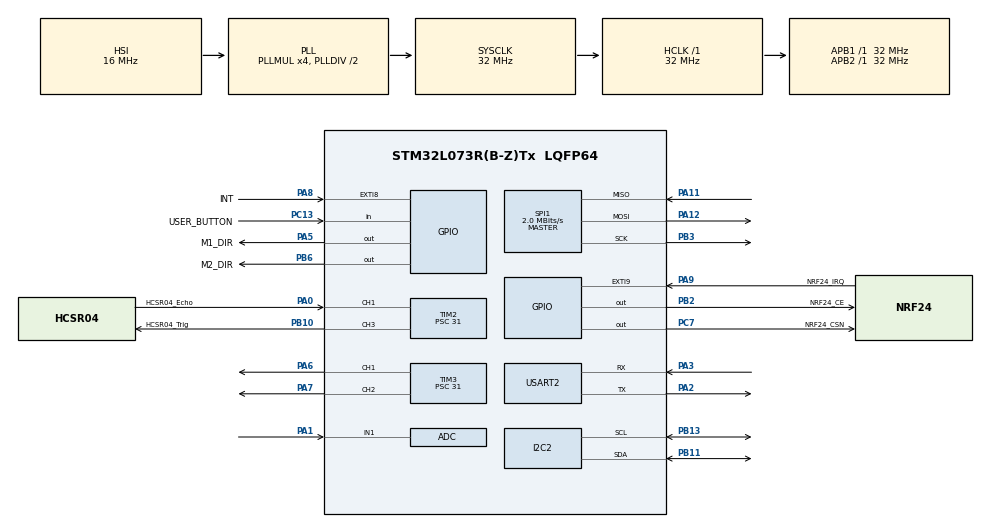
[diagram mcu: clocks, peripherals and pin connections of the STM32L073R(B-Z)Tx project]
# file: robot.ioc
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ADC.ClockPrescaler=ADC_CLOCK_SYNC_PCLK_DIV2
ADC.ContinuousConvMode=ENABLE
ADC.DMAContinuousRequests=ENABLE
ADC.EnableAnalogWatchDog=false
ADC.OversamplingMode=ENABLE
ADC.Ratio=ADC_OVERSAMPLING_RATIO_16
ADC.RightBitShift=ADC_RIGHTBITSHIFT_4
ADC.SamplingTime=ADC_SAMPLETIME_160CYCLES_5
Dma.ADC.0.Direction=DMA_PERIPH_TO_MEMORY
Dma.ADC.0.Instance=DMA1_Channel1
Dma.ADC.0.MemDataAlignment=DMA_MDATAALIGN_HALFWORD
Dma.ADC.0.MemInc=DMA_MINC_ENABLE
Dma.ADC.0.Mode=DMA_CIRCULAR
Dma.ADC.0.PeriphDataAlignment=DMA_PDATAALIGN_HALFWORD
Dma.ADC.0.PeriphInc=DMA_PINC_DISABLE
Dma.ADC.0.Priority=DMA_PRIORITY_LOW
Dma.Request0=ADC
I2C2.Timing=0x00707CBB
Mcu.Family=STM32L0
Mcu.Name=STM32L073R(B-Z)Tx
Mcu.Package=LQFP64
NVIC.EXTI4_15_IRQn=true\:3\:0\:true\:false\:true\:true\:true\:true
NVIC.PVD_IRQn=true\:0\:0\:false\:false\:true\:true\:true\:true
NVIC.TIM2_IRQn=true\:1\:0\:true\:false\:true\:true\:true\:true
NVIC.TIM3_IRQn=true\:1\:0\:true\:false\:true\:true\:true\:true
NVIC.TIM6_DAC_IRQn=true\:2\:0\:true\:false\:true\:true\:true\:true
NVIC.USART2_IRQn=true\:3\:0\:true\:false\:true\:true\:true\:true
PA0.GPIO_Label=HCSR04_Echo
PA0.GPIO_Speed=GPIO_SPEED_FREQ_MEDIUM
PA0.Signal=S_TIM2_CH1
PA1.Mode=IN1
PA1.Signal=ADC_IN1
PA11.Mode=Full_Duplex_Master
PA11.Signal=SPI1_MISO
PA12.Mode=Full_Duplex_Master
PA12.Signal=SPI1_MOSI
PA13.Mode=Serial_Wire
PA13.Signal=SYS_SWDIO
PA14.Mode=Serial_Wire
PA14.Signal=SYS_SWCLK
PA2.Mode=Asynchronous
PA2.Signal=USART2_TX
PA3.Mode=Asynchronous
PA3.Signal=USART2_RX
PA5.GPIO_Label=M1_DIR
PA5.Signal=GPIO_Output
PA6.Signal=S_TIM3_CH1
PA7.Signal=S_TIM3_CH2
PA8.GPIO_Label=INT
PA8.GPIO_PuPd=GPIO_PULLDOWN
PA8.Signal=GPXTI8
PA9.GPIO_Label=NRF24_IRQ
PA9.GPIO_ModeDefaultEXTI=GPIO_MODE_IT_FALLING
PA9.Signal=GPXTI9
PB10.GPIO_Label=HCSR04_Trig
PB10.GPIO_Speed=GPIO_SPEED_FREQ_MEDIUM
PB10.Signal=S_TIM2_CH3
PB11.Mode=I2C
PB11.Signal=I2C2_SDA
PB13.Mode=I2C
PB13.Signal=I2C2_SCL
PB2.GPIO_Label=NRF24_CE
PB2.Signal=GPIO_Output
PB3.Mode=Full_Duplex_Master
PB3.Signal=SPI1_SCK
PB6.GPIO_Label=M2_DIR
PB6.Signal=GPIO_Output
PC13.GPIO_Label=USER_BUTTON
PC13.Signal=GPIO_Input
PC7.GPIO_Label=NRF24_CSN
PC7.Signal=GPIO_Output
ProjectManager.HeapSize=0x200
ProjectManager.StackSize=0x400
ProjectManager.TargetToolchain=STM32CubeIDE
RCC.ADCFreq_Value=16000000
RCC.AHBFreq_Value=32000000
RCC.APB1Freq_Value=32000000
RCC.APB1TimFreq_Value=32000000
RCC.APB2Freq_Value=32000000
RCC.APB2TimFreq_Value=32000000
RCC.HCLKFreq_Value=32000000
RCC.HSE_VALUE=8000000
RCC.HSI16_VALUE=16000000
RCC.HSI48_VALUE=48000000
RCC.HSI_VALUE=16000000
RCC.LSEState=RCC_LSE_ON
RCC.LSE_VALUE=32768
RCC.MSIClockRange=RCC_MSIRANGE_6
RCC.MSI_VALUE=4194000
RCC.PLLMUL=RCC_PLLMUL_4
RCC.SYSCLKFreq_VALUE=32000000
RCC.SYSCLKSource=RCC_SYSCLKSOURCE_PLLCLK
RCC.VCOOutputFreq_Value=64000000
SH.S_TIM2_CH1.0=TIM2_CH1,Input_Capture1_from_TI1
SH.S_TIM2_CH3.0=TIM2_CH3,PWM Generation3 CH3
SH.S_TIM3_CH1.0=TIM3_CH1,PWM Generation1 CH1
SH.S_TIM3_CH2.0=TIM3_CH2,PWM Generation2 CH2
SPI1.BaudRatePrescaler=SPI_BAUDRATEPRESCALER_16
SPI1.CalculateBaudRate=2.0 MBits/s
SPI1.Direction=SPI_DIRECTION_2LINES
SPI1.Mode=SPI_MODE_MASTER
SPI1.VirtualType=VM_MASTER
TIM2.Channel-Input_Capture1_from_TI1=TIM_CHANNEL_1
TIM2.Channel-Input_Capture2_from_TI1_63=TIM_CHANNEL_2
TIM2.Channel-PWM\ Generation3\ CH3=TIM_CHANNEL_3
TIM2.ICPolarity_CH1=TIM_INPUTCHANNELPOLARITY_FALLING
TIM2.ICPolarity_CH2=TIM_INPUTCHANNELPOLARITY_RISING
TIM2.Prescaler=31
TIM2.Pulse-PWM\ Generation3\ CH3=125
TIM3.Channel-PWM\ Generation1\ CH1=TIM_CHANNEL_1
TIM3.Channel-PWM\ Generation2\ CH2=TIM_CHANNEL_2
TIM3.Period=9999
TIM3.Prescaler=31
TIM6.Period=9999
TIM6.Prescaler=3199
USART2.VirtualMode-Asynchronous=VM_ASYNC
VP_TIM2_VS_indirect_ch1.Mode=Input_Capture2_from_TI1_63
VP_TIM3_VS_ClockSourceINT.Mode=Internal
VP_TIM6_VS_ClockSourceINT.Mode=Enable_Timer
board=NUCLEO-L073RZ

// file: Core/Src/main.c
/* USER CODE BEGIN Header */
/**
  ******************************************************************************
  * @file           : main.c
  * @brief          : Main program body
  ******************************************************************************
  * @attention
  *
  * <h2><center>&copy; Copyright (c) 2020 STMicroelectronics.
  * All rights reserved.</center></h2>
  *
  * This software component is licensed by ST under BSD 3-Clause license,
  * the "License"; You may not use this file except in compliance with the
  * License. You may obtain a copy of the License at:
  *                        opensource.org/licenses/BSD-3-Clause
  *
  ******************************************************************************
  * Authors:
  * Jan Kaniuka
  * Przemysław Krasnodębski
  *
  * Project: Mobile radio-controlled platform.
  *
  * Main functionalities:
  * Execution of movement commands received by radio.
  * Protection against collision with the environment
  * Measurement of movement parameters (current consumption, distance from obstacles)
  * Sending motion parameters to a transmitter.
  *
  ******************************************************************************
  */
/* USER CODE END Header */
#include "main.h"
#include "adc.h"
#include "dma.h"
#include "i2c.h"
#include "spi.h"
#include "tim.h"
#include "usart.h"
#include "gpio.h"

/* USER CODE BEGIN Includes */
#include <stdio.h>
#include <stdint.h>
#include <string.h>
#include <stdlib.h>
#include "nRF24/nRF24_Defs.h"
#include "nRF24/nRF24.h"
#include "mpu6050.h"
#include "hcsr04.h"
#include "kalman.h"
#include "motor.h"
/* USER CODE END Includes */

/* USER CODE BEGIN PD */

#undef DEBUG
#define USE_RADIO
#define USE_RADIO_SENT
#define USE_HCSR04
#define USE_ADC
#undef USE_IMU

#define MESSAGE_BUFF_LEN 400 // 32 payload + \0

/* USER CODE END PD */

/* USER CODE BEGIN PV */

Motors_t Car1;

#ifdef USE_RADIO
	volatile uint8_t nrf24_rx_flag, nrf24_tx_flag, nrf24_mr_flag;
	uint8_t Message[MESSAGE_BUFF_LEN];
	uint8_t MessageLength;

	uint8_t Message_RX[MESSAGE_BUFF_LEN];
	uint8_t MessageLength_RX;
#endif

#ifdef USE_HCSR04
	/// raw distance from sensor
	uint16_t Distance;
	/// struct with Kalman filter parameter
	volatile Kalman_t HCSR04;
#endif

#ifdef USE_ADC
	/// current measurement
	volatile static uint16_t current[1];
#endif

#ifdef USE_IMU
	MPU6050_t MPU6050;
#endif

/// actual time
uint32_t delayTimer = 0;

/* USER CODE END PV */

void SystemClock_Config(void);

/* USER CODE BEGIN 0 */

/**
  * @brief  Function to handle the message received by the radio module.
  * @param[in] Message[] Char table
  * @param[in] *DataStruct Pointer on the struct with PWM value
  * @retval None
  */
void MessegeHandle(uint8_t Message[], Motors_t *DataStruct){
	switch(Message[0]){
	case('s'):
		{
		if((Message[4] != '0' && Message[4] != '1' )){
			break;
		}
		char pwmRm[] = {Message[5], Message[6]};
		DataStruct->pwmMotorRight = atoi(pwmRm)*100;
		if(Message[4] == '1'){
			DataStruct->pwmMotorRight = DataStruct->pwmMotorRight*-1;
		}
		char pwmLm[] = {Message[2], Message[3]};
		DataStruct->pwmMotorLeft = atoi(pwmLm)*100;
		if(Message[1] == '1'){
			DataStruct->pwmMotorLeft = DataStruct->pwmMotorLeft*-1;
		}
		if((HCSR04._last_est<20) && ((DataStruct->pwmMotorLeft) > 0 || (DataStruct->pwmMotorRight) > 0)){
			setMotorPWM(0, 0);
		}else{
			setMotorPWM(DataStruct->pwmMotorLeft, DataStruct->pwmMotorRight);
		}

		break;
		}

	default:
		break;
	}
}

/**
  * @brief  Callback to handle received messages.
  * @retval None
  */
void nRF24_EventRxCallback(void){
	delayTimer = HAL_GetTick();
	nRF24_ReadData(Message_RX, &MessageLength_RX);
	if(MessageLength_RX > 0){
		MessegeHandle(Message_RX, &Car1);
#ifdef DEBUG
	HAL_UART_Transmit_IT(&huart2, Message_RX, MessageLength_RX);
#endif
	}
}
/* USER CODE END 0 */

int main(void)
{

  /* MCU Configuration--------------------------------------------------------*/

  /* Reset of all peripherals, Initializes the Flash interface and the Systick. */
  HAL_Init();

  /* Configure the system clock */
  SystemClock_Config();

  /* Initialize all configured peripherals */
  MX_GPIO_Init();
  MX_TIM3_Init();
  MX_SPI1_Init();
  MX_USART2_UART_Init();
  MX_I2C2_Init();
  MX_DMA_Init();
  MX_ADC_Init();
  MX_TIM2_Init();
  MX_TIM6_Init();
  /* USER CODE BEGIN 2 */
#ifdef USE_HCSR04
  HCSR04_Init(&htim2);
  KalmanFilter(&HCSR04, 2, 2, 3);
  Distance = 50;
  estimate(&HCSR04, Distance);
#endif

  MOTORS_Init(&htim3);
  HAL_TIM_Base_Start_IT(&htim6);

#ifdef USE_RADIO
  nRF24_Init(&hspi1);
  nRF24_SetRXAddress(0, (uint8_t*)"Odb");
  nRF24_SetTXAddress((uint8_t*)"Nad");
  nRF24_RX_Mode();
#endif

  /// time to stop
  uint32_t stopTime = 4000;

#ifdef USE_IMU
  while (MPU6050_Init(&hi2c2) == 1);
#endif

#ifdef USE_ADC
  HAL_ADCEx_Calibration_Start(&hadc, ADC_SINGLE_ENDED);
  HAL_ADC_Start_DMA(&hadc, (uint32_t*)current, 2);
#endif

  /* USER CODE END 2 */

  /* Infinite loop */
  /* USER CODE BEGIN WHILE */
  while (1)
  {

	#ifdef USE_RADIO
	  nRF24_Event();
	#endif

	  if(((HAL_GetTick() - delayTimer) > stopTime) && ((Car1.pwmMotorLeft) == 0 && (Car1.pwmMotorRight) == 0)) {
		  setMotorPWM(0, 0);
	  }

    /* USER CODE END WHILE */

  }
}

void SystemClock_Config(void)
{
  RCC_OscInitTypeDef RCC_OscInitStruct = {0};
  RCC_ClkInitTypeDef RCC_ClkInitStruct = {0};
  RCC_PeriphCLKInitTypeDef PeriphClkInit = {0};

  /** Configure the main internal regulator output voltage
  */
  __HAL_PWR_VOLTAGESCALING_CONFIG(PWR_REGULATOR_VOLTAGE_SCALE1);

  /** Initializes the RCC Oscillators according to the specified parameters
  * in the RCC_OscInitTypeDef structure.
  */
  RCC_OscInitStruct.OscillatorType = RCC_OSCILLATORTYPE_HSI;
  RCC_OscInitStruct.HSIState = RCC_HSI_ON;
  RCC_OscInitStruct.HSICalibrationValue = RCC_HSICALIBRATION_DEFAULT;
  RCC_OscInitStruct.PLL.PLLState = RCC_PLL_ON;
  RCC_OscInitStruct.PLL.PLLSource = RCC_PLLSOURCE_HSI;
  RCC_OscInitStruct.PLL.PLLMUL = RCC_PLLMUL_4;
  RCC_OscInitStruct.PLL.PLLDIV = RCC_PLLDIV_2;
  if (HAL_RCC_OscConfig(&RCC_OscInitStruct) != HAL_OK)
  {
    Error_Handler();
  }

  /** Initializes the CPU, AHB and APB buses clocks
  */
  RCC_ClkInitStruct.ClockType = RCC_CLOCKTYPE_HCLK|RCC_CLOCKTYPE_SYSCLK
                              |RCC_CLOCKTYPE_PCLK1|RCC_CLOCKTYPE_PCLK2;
  RCC_ClkInitStruct.SYSCLKSource = RCC_SYSCLKSOURCE_PLLCLK;
  RCC_ClkInitStruct.AHBCLKDivider = RCC_SYSCLK_DIV1;
  RCC_ClkInitStruct.APB1CLKDivider = RCC_HCLK_DIV1;
  RCC_ClkInitStruct.APB2CLKDivider = RCC_HCLK_DIV1;

  if (HAL_RCC_ClockConfig(&RCC_ClkInitStruct, FLASH_LATENCY_1) != HAL_OK)
  {
    Error_Handler();
  }
  PeriphClkInit.PeriphClockSelection = RCC_PERIPHCLK_USART2;
  PeriphClkInit.Usart2ClockSelection = RCC_USART2CLKSOURCE_PCLK1;
  if (HAL_RCCEx_PeriphCLKConfig(&PeriphClkInit) != HAL_OK)
  {
    Error_Handler();
  }
}

/* USER CODE BEGIN 4 */
void HAL_GPIO_EXTI_Callback(uint16_t GPIO_Pin)
{
	if(GPIO_Pin == NRF24_IRQ_Pin)
	{
#if (NRF24_USE_INTERRUPT == 1)
		nRF24_IRQ_Handler();

#endif
	}
}

void HAL_TIM_IC_CaptureCallback(TIM_HandleTypeDef *htim)
{
	HCSR04_TIM_IC_CaptureCallback(htim);
	HCSR04_Read(&Distance);
	estimate(&HCSR04, Distance);
	if((HCSR04._last_est<20) && ((Car1.pwmMotorLeft) > 0 || (Car1.pwmMotorRight) > 0)){
		setMotorPWM(0, 0);
	}

}

void HAL_TIM_PeriodElapsedCallback(TIM_HandleTypeDef *htim)
{
  if (htim == &htim6) {

#ifdef USE_HCSR04
	  HCSR04_Read(&Distance);
	  MessageLength = sprintf((char *)Message, "d%.3d\n\r",HCSR04._last_est);

#ifdef USE_RADIO_SENT
	  nRF24_SendData(Message, MessageLength);
#endif

#endif

#ifdef USE_ADC
#ifdef USE_RADIO_SENT
	  MessageLength = sprintf((char *)Message, "v%.4d\n\r", current[0]);
	  nRF24_SendData(Message, MessageLength);
#endif
#endif

#ifdef USE_IMU
	MPU6050_Read_All(&hi2c2, &MPU6050);
#endif
  }
}
/* USER CODE END 4 */

void Error_Handler(void)
{
}
